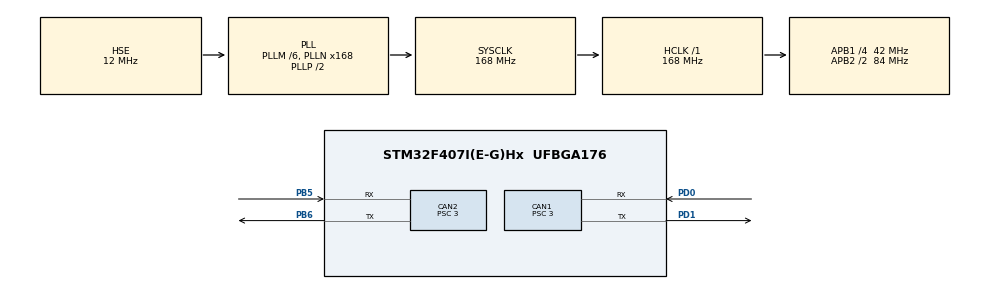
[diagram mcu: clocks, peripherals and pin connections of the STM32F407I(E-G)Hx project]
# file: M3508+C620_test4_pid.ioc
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CAN1.BS1=CAN_BS1_10TQ
CAN1.BS2=CAN_BS2_3TQ
CAN1.CalculateBaudRate=1000000
CAN1.CalculateTimeBit=1000
CAN1.CalculateTimeQuantum=71.42857142857143
CAN1.Prescaler=3
CAN2.BS1=CAN_BS1_10TQ
CAN2.BS2=CAN_BS2_3TQ
CAN2.CalculateBaudRate=1000000
CAN2.CalculateTimeBit=1000
CAN2.CalculateTimeQuantum=71.42857142857143
CAN2.Prescaler=3
Mcu.Family=STM32F4
Mcu.Name=STM32F407I(E-G)Hx
Mcu.Package=UFBGA176
NVIC.CAN1_RX0_IRQn=true\:0\:0\:false\:false\:true\:true\:true\:true
NVIC.CAN1_TX_IRQn=true\:0\:0\:false\:false\:true\:true\:true\:true
NVIC.CAN2_RX0_IRQn=true\:0\:0\:false\:false\:true\:true\:true\:true
NVIC.CAN2_TX_IRQn=true\:0\:0\:false\:false\:true\:true\:true\:true
NVIC.PriorityGroup=NVIC_PRIORITYGROUP_4
PA13.Mode=Serial_Wire
PA13.Signal=SYS_JTMS-SWDIO
PA14.Mode=Serial_Wire
PA14.Signal=SYS_JTCK-SWCLK
PB5.Mode=CAN_Activate
PB5.Signal=CAN2_RX
PB6.Mode=CAN_Activate
PB6.Signal=CAN2_TX
PD0.Mode=CAN_Activate
PD0.Signal=CAN1_RX
PD1.Mode=CAN_Activate
PD1.Signal=CAN1_TX
PH0-OSC_IN.Mode=HSE-External-Oscillator
PH0-OSC_IN.Signal=RCC_OSC_IN
PH1-OSC_OUT.Mode=HSE-External-Oscillator
PH1-OSC_OUT.Signal=RCC_OSC_OUT
ProjectManager.HeapSize=0x200
ProjectManager.StackSize=0x400
ProjectManager.TargetToolchain=MDK-ARM V5.32
RCC.48MHZClocksFreq_Value=84000000
RCC.AHBFreq_Value=168000000
RCC.APB1CLKDivider=RCC_HCLK_DIV4
RCC.APB1Freq_Value=42000000
RCC.APB1TimFreq_Value=84000000
RCC.APB2CLKDivider=RCC_HCLK_DIV2
RCC.APB2Freq_Value=84000000
RCC.APB2TimFreq_Value=168000000
RCC.CortexFreq_Value=168000000
RCC.HCLKFreq_Value=168000000
RCC.HSE_VALUE=12000000
RCC.HSI_VALUE=16000000
RCC.LSE_VALUE=32768
RCC.PLLM=6
RCC.PLLN=168
RCC.PLLSourceVirtual=RCC_PLLSOURCE_HSE
RCC.SYSCLKFreq_VALUE=168000000
RCC.SYSCLKSource=RCC_SYSCLKSOURCE_PLLCLK
RCC.VCOOutputFreq_Value=336000000
board=custom

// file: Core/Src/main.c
/* USER CODE BEGIN Header */
/**
  ******************************************************************************
  * @file           : main.c
  * @brief          : Main program body
  ******************************************************************************
  * @attention
  *
  * Copyright (c) 2023 STMicroelectronics.
  * All rights reserved.
  *
  * This software is licensed under terms that can be found in the LICENSE file
  * in the root directory of this software component.
  * If no LICENSE file comes with this software, it is provided AS-IS.
  *
  ******************************************************************************
  */
/* USER CODE END Header */
#include "main.h"
#include "can.h"
#include "gpio.h"

/* USER CODE BEGIN Includes */
#include "CAN_receive.h"
#include "struct_typedef.h"
#include "bsp_can.h"
/* USER CODE END Includes */

/* USER CODE BEGIN PD */
#define MOTOR_MAX 4 //最大电机数
#define get_motor_measure(ptr, data)                                    \
    {                                                                   \
        (ptr)->last_ecd = (ptr)->ecd;                                   \
        (ptr)->ecd = (uint16_t)((data)[0] << 8 | (data)[1]);            \
        (ptr)->speed_rpm = (uint16_t)((data)[2] << 8 | (data)[3]);      \
        (ptr)->given_current = (uint16_t)((data)[4] << 8 | (data)[5]);  \
        (ptr)->temperate = (data)[6];                                   \
    }
/* USER CODE END PD */

/* USER CODE BEGIN PV */
int16_t desireRpm[MOTOR_MAX];
float desireangle[MOTOR_MAX];
MOTOR_TypeDef motor;
motor_measure_t motor_data;
float motor_err[MOTOR_MAX];
float motor_POS_ABS=0; //绝对位置
float pos, pos_old;
/* USER CODE END PV */

void SystemClock_Config(void);
/* USER CODE BEGIN PFP */
void Motor_Angle_Cal(unsigned short int motor_num,float T)//电极ID与电机自传一圈角度
{
	static float eer[MOTOR_MAX];

	eer[motor_num]=pos - pos_old;

	if(eer[motor_num]>T/2)
	{
		eer[motor_num]=eer[motor_num]-T;//反转，自减
	}
	else if(eer[motor_num]<-T/2)
	{
		eer[motor_num]=eer[motor_num]+T;//正转，自加一个周期的角度值（360）
	}
	motor_POS_ABS += eer[motor_num];
}
/* USER CODE END PFP */

/* USER CODE BEGIN 0 */
void HAL_CAN_RxFifo0MsgPendingCallback(CAN_HandleTypeDef *hcan)
{
    CAN_RxHeaderTypeDef rx_header;
    uint8_t rx_data[8];

    HAL_CAN_GetRxMessage(hcan, CAN_RX_FIFO0, &rx_header, rx_data);

    switch (rx_header.StdId)
    {
        case CAN_3508_M1_ID:
        case CAN_3508_M2_ID:
        case CAN_3508_M3_ID:
        case CAN_3508_M4_ID:
        case CAN_YAW_MOTOR_ID:
        case CAN_PIT_MOTOR_ID:
        case CAN_TRIGGER_MOTOR_ID:
        {
            static uint8_t i = 0;
            //get motor id
            i = rx_header.StdId - CAN_3508_M1_ID;
            get_motor_measure(&motor_data, rx_data);
						pos=motor_data.ecd;
					  pos_old = motor_data.last_ecd;
						Motor_Angle_Cal(i,8192);
            break;
        }

        default:
        {
            break;
        }
    }
}

void CAN1_control_motor(uint16_t current){
	  CAN_TxHeaderTypeDef chassis_tx_message={0};
	  uint32_t send_mail_box;
		uint8_t chassis_can_send_data[8]={0};
    chassis_tx_message.StdId = CAN_CHASSIS_ALL_ID;
    chassis_tx_message.IDE = CAN_ID_STD;
    chassis_tx_message.RTR = CAN_RTR_DATA;
    chassis_tx_message.DLC = 0x08;
    chassis_can_send_data[0] = current >> 8;
    chassis_can_send_data[1] = current;
    HAL_CAN_AddTxMessage(&hcan1, &chassis_tx_message, chassis_can_send_data, &send_mail_box);
}
/* USER CODE END 0 */

int main(void)
{

  /* MCU Configuration--------------------------------------------------------*/

  /* Reset of all peripherals, Initializes the Flash interface and the Systick. */
  HAL_Init();

  /* USER CODE BEGIN Init */
	uint8_t num=0;
  /* USER CODE END Init */

  /* Configure the system clock */
  SystemClock_Config();

  /* Initialize all configured peripherals */
  MX_GPIO_Init();
  MX_CAN1_Init();
  MX_CAN2_Init();

  /* USER SCODE BEGIN 2 */
	can_filter_init();
	HAL_CAN_Start(&hcan1);
	HAL_CAN_ActivateNotification(&hcan1, CAN_IT_RX_FIFO0_MSG_PENDING);

	motor_err[num]=50;
	motor.PID_ANGLE[num].P=0.09;
	motor.PID_ANGLE[num].I=0;
	motor.PID_ANGLE[num].D=1;
	motor.PID_ANGLE[num].OUT_LIMIT=1000;
	motor.PID_ANGLE[num].I_LIMIT=400;
	motor.PID_SPEED[num].P=6;
	motor.PID_SPEED[num].I=0;
	motor.PID_SPEED[num].D=0;
	motor.PID_SPEED[num].OUT_LIMIT=1000;
	motor.PID_SPEED[num].I_LIMIT=400;

  /* USER CODE END 2 */

  /* Infinite loop */
//		error[num] = desireangle[num] - motor_POS_ABS[num];
//		float pOut = kp * error[num];
//		integral += ki * error[num];
//		float iOut = integral;
//		float dOut = kd * (error[num]-lastErr[num]);
//		lastErr[num] = error[num];
//		CAN1_control_motor(pOut + iOut + dOut);
//		HAL_Delay(1);
  /* USER CODE BEGIN WHILE */
	desireangle[num]=8192/4*3591/187;//转子角度
	motor_POS_ABS=0;

  while (1)
  {
    /* USER CODE END WHILE */

    /* USER CODE BEGIN 3 */

		PID_Cal_Limt(&motor.PID_ANGLE[num], motor_err[num], motor_POS_ABS,desireangle[num]);
		PID_Cal_Limt( &motor.PID_SPEED[num], 10, motor_data.speed_rpm, motor.PID_ANGLE[num].OUT);
		CAN_cmd_chassis((int16_t)(motor.PID_SPEED[num].OUT),0,0,0);
		HAL_Delay(1);
  }
  /* USER CODE END 3 */
}

void SystemClock_Config(void)
{
  RCC_OscInitTypeDef RCC_OscInitStruct = {0};
  RCC_ClkInitTypeDef RCC_ClkInitStruct = {0};

  /** Configure the main internal regulator output voltage
  */
  __HAL_RCC_PWR_CLK_ENABLE();
  __HAL_PWR_VOLTAGESCALING_CONFIG(PWR_REGULATOR_VOLTAGE_SCALE1);

  /** Initializes the RCC Oscillators according to the specified parameters
  * in the RCC_OscInitTypeDef structure.
  */
  RCC_OscInitStruct.OscillatorType = RCC_OSCILLATORTYPE_HSE;
  RCC_OscInitStruct.HSEState = RCC_HSE_ON;
  RCC_OscInitStruct.PLL.PLLState = RCC_PLL_ON;
  RCC_OscInitStruct.PLL.PLLSource = RCC_PLLSOURCE_HSE;
  RCC_OscInitStruct.PLL.PLLM = 6;
  RCC_OscInitStruct.PLL.PLLN = 168;
  RCC_OscInitStruct.PLL.PLLP = RCC_PLLP_DIV2;
  RCC_OscInitStruct.PLL.PLLQ = 4;
  if (HAL_RCC_OscConfig(&RCC_OscInitStruct) != HAL_OK)
  {
    Error_Handler();
  }

  /** Initializes the CPU, AHB and APB buses clocks
  */
  RCC_ClkInitStruct.ClockType = RCC_CLOCKTYPE_HCLK|RCC_CLOCKTYPE_SYSCLK
                               |RCC_CLOCKTYPE_PCLK1|RCC_CLOCKTYPE_PCLK2;
  RCC_ClkInitStruct.SYSCLKSource = RCC_SYSCLKSOURCE_PLLCLK;
  RCC_ClkInitStruct.AHBCLKDivider = RCC_SYSCLK_DIV1;
  RCC_ClkInitStruct.APB1CLKDivider = RCC_HCLK_DIV4;
  RCC_ClkInitStruct.APB2CLKDivider = RCC_HCLK_DIV2;

  if (HAL_RCC_ClockConfig(&RCC_ClkInitStruct, FLASH_LATENCY_5) != HAL_OK)
  {
    Error_Handler();
  }
}

/* USER CODE BEGIN 4 */
float PID_Cal_Limt(_PID *PID, float limit, float get, float set)//PID死区修改
{
	PID->err = set - get;
	PID->err_err = PID->err - PID->err_old;

	PID->P_OUT  = PID->P * PID->err;
	PID->I_OUT += PID->I * PID->err;
	PID->D_OUT  = PID->D * PID->err_err;

	PID->I_OUT = (PID->I_OUT > PID->I_LIMIT)?(PID->I_LIMIT):((PID->I_OUT < -PID->I_LIMIT)?(-PID->I_LIMIT):(PID->I_OUT));

	PID->OUT = PID->P_OUT + PID->I_OUT + PID->D_OUT;

	PID->OUT = (PID->OUT > PID->OUT_LIMIT)?(PID->OUT_LIMIT):((PID->OUT < -PID->OUT_LIMIT)?(-PID->OUT_LIMIT):(PID->OUT));

	if((PID->err >= -limit)&&(PID->err <= limit))
	{
	  PID->I_OUT=0;
	  PID->OUT=0;
	}

	PID->err_old = PID->err;

	return PID->OUT;
}

/* USER CODE END 4 */

void Error_Handler(void)
{
  __disable_irq();
  while (1)
  {
  }
}
